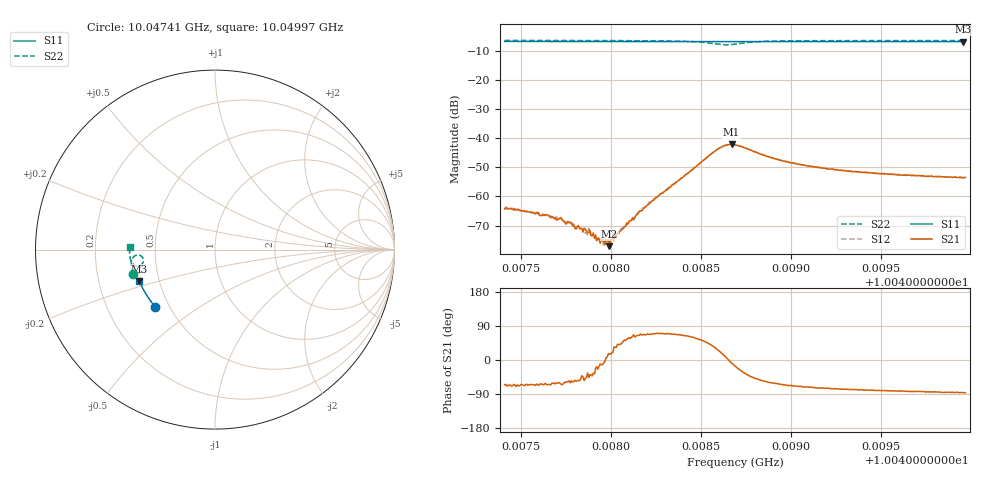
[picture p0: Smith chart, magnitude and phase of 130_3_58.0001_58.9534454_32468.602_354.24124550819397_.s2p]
#  HZ  S  RI  R  50.00
! Rohde & Schwarz Vector Network Analyzer
! Rohde-Schwarz,ZNB20-2Port,1311601062101988,3.16
! Created: UTC 3/21/2024, 12:56:05 AM
! freq[Hz]  re:S11  im:S11  re:S21  im:S21  re:S12  im:S12  re:S22  im:S22
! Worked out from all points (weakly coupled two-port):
!   401 points, 10.04741 GHz to 10.04997 GHz, reference 50 ohm
!   highest |S21| = -42.13 dB at 10.04867 GHz (marker M1); lowest = -77.1 dB at 10.04799 GHz (marker M2)
!   lowest |S11| = -6.8 dB at 10.04996 GHz (marker M3), VSWR 2.67, Z = 19.3 - j8.51 ohm
!   |S11| at or under -10 dB: nowhere
!   |S22| runs from -7.9 to -6.4 dB; largest |S21 - S12| = 0.00055
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1.0047409e10  -0.3333 -0.3172  0.000256 -0.000558  0.000304 -0.000574  -0.4585 -0.1367
1.0047639e10  -0.3433 -0.3056  0.000217 -0.000436  0.000233 -0.000406  -0.4623 -0.1206
1.004771e10  -0.3463 -0.3021  0.000207 -0.000352  0.00019 -0.000357  -0.4635 -0.1151
1.0047838e10  -0.3517 -0.2954  0.000213 -0.000188  0.000204 -0.000187  -0.465 -0.1056
1.0047857e10  -0.3526 -0.2944  0.000182 -0.000204  0.000184 -0.000146  -0.4652 -0.1042
1.0047889e10  -0.3537 -0.2926  0.000165 -0.000136  0.000168 -0.000139  -0.4657 -0.1015
1.0047908e10  -0.3546 -0.2916  0.000154 -0.000115  0.00018 -7.37e-05  -0.4659 -0.1002
1.0047947e10  -0.356 -0.2896  0.000179 -4.12e-05  0.000168 -1.23e-05  -0.4662 -0.097
1.0047992e10  -0.3578 -0.2872  0.000134 4.01e-05  0.000155 4.87e-05  -0.4665 -0.0933
1.0048004e10  -0.3583 -0.2866  0.000172 5.85e-05  0.000161 9.13e-05  -0.4665 -0.0922
1.0048011e10  -0.3586 -0.2863  0.00018 6.52e-05  0.000171 8.75e-05  -0.4669 -0.0917
1.0048101e10  -0.3623 -0.2815  0.000192 0.000323  0.000194 0.000292  -0.4671 -0.0837
1.0048203e10  -0.3662 -0.276  0.000254 0.000656  0.000231 0.000685  -0.467 -0.0737
1.0048267e10  -0.3688 -0.2726  0.000364 0.000972  0.000308 0.000989  -0.4662 -0.0669
1.0048587e10  -0.3798 -0.2546  0.00552 0.00308  0.00527 0.00344  -0.4159 -0.0332
1.0048671e10  -0.3824 -0.2502  0.00775 -0.00107  0.00782 -0.000552  -0.4007 -0.0709
1.004869e10  -0.383 -0.2493  0.00741 -0.00211  0.00757 -0.0017  -0.4055 -0.0798
1.0048933e10  -0.3919 -0.2357  0.00191 -0.00382  0.00216 -0.0037  -0.4628 -0.0725
1.0049119e10  -0.3977 -0.2249  0.001 -0.00309  0.00118 -0.0031  -0.4714 -0.0519
1.0049548e10  -0.4102 -0.1994  0.00035 -0.00238  0.0005 -0.00238  -0.4762 -0.0159
1.0049958e10  -0.4207 -0.1744  0.000149 -0.00211  0.000272 -0.0021  -0.4763 0.0138
1.0049971e10  -0.4211 -0.1736  0.000131 -0.00212  0.000266 -0.00213  -0.4763 0.0147
